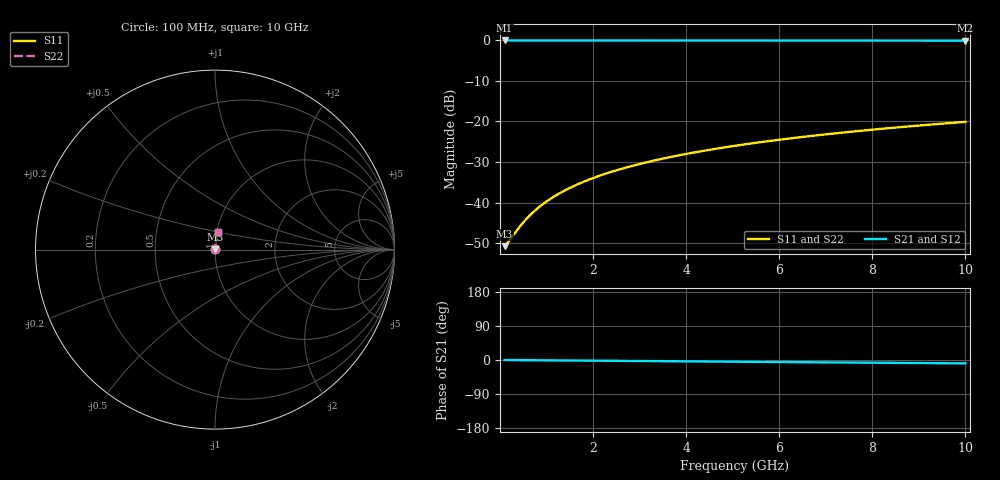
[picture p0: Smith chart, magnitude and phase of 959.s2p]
# Hz S RI R 50.00
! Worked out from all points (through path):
!   100 points, 100 MHz to 10 GHz, reference 50 ohm
!   highest |S21| = -0.02 dB at 100 MHz (marker M1); lowest = -0.1 dB at 10 GHz (marker M2)
!   group delay of S21, straight-line fit = 2.48 ps
!   lowest |S11| = -50.8 dB at 100 MHz (marker M3), VSWR 1.01, Z = 50.3 + j0.0992 ohm
!   |S11| at or under -10 dB: start of sweep to end of sweep
!   |S22| runs from -50.8 to -20.1 dB; largest |S21 - S12| = 0
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1e8  0.00272 0.000987  0.9973 -0.00155  0.9973 -0.00155  0.00272 0.000987
2e8  0.00274 0.00197  0.9973 -0.0031  0.9973 -0.0031  0.00274 0.00197
4e8  0.00279 0.00395  0.9972 -0.00621  0.9972 -0.00621  0.00279 0.00395
5e8  0.00281 0.00493  0.9972 -0.00776  0.9972 -0.00776  0.00281 0.00493
6e8  0.00283 0.00592  0.9972 -0.00931  0.9972 -0.00931  0.00283 0.00592
7e8  0.00286 0.00691  0.9971 -0.0109  0.9971 -0.0109  0.00286 0.00691
8e8  0.00289 0.00789  0.9971 -0.0124  0.9971 -0.0124  0.00289 0.00789
1e9  0.00296 0.00987  0.997 -0.0155  0.997 -0.0155  0.00296 0.00987
1.2e9  0.00304 0.0118  0.9969 -0.0186  0.9969 -0.0186  0.00304 0.0118
1.5e9  0.00317 0.0148  0.9968 -0.0233  0.9968 -0.0233  0.00317 0.0148
1.8e9  0.00334 0.0178  0.9966 -0.0279  0.9966 -0.0279  0.00334 0.0178
2.1e9  0.00353 0.0207  0.9964 -0.0326  0.9964 -0.0326  0.00353 0.0207
2.5e9  0.00382 0.0246  0.9961 -0.0388  0.9961 -0.0388  0.00382 0.0246
2.9e9  0.00417 0.0286  0.9957 -0.045  0.9957 -0.045  0.00417 0.0286
3.4e9  0.00466 0.0335  0.9951 -0.0527  0.9951 -0.0527  0.00466 0.0335
4.2e9  0.00562 0.0413  0.9941 -0.0651  0.9941 -0.0651  0.00562 0.0413
5.1e9  0.00692 0.0501  0.9926 -0.0789  0.9926 -0.0789  0.00692 0.0501
5.9e9  0.00828 0.0579  0.9911 -0.0913  0.9911 -0.0913  0.00828 0.0579
6.7e9  0.00984 0.0656  0.9894 -0.1035  0.9894 -0.1035  0.00984 0.0656
7.5e9  0.0116 0.0733  0.9875 -0.1158  0.9875 -0.1158  0.0116 0.0733
8.4e9  0.0138 0.0819  0.985 -0.1295  0.985 -0.1295  0.0138 0.0819
1e10  0.0183 0.0971  0.9801 -0.1538  0.9801 -0.1538  0.0183 0.0971
